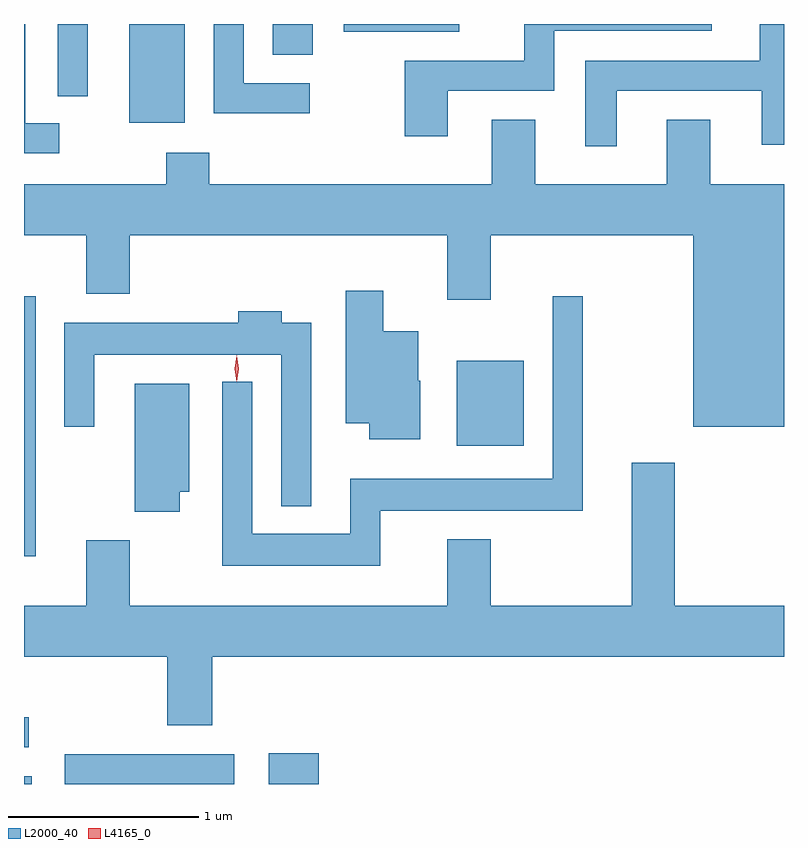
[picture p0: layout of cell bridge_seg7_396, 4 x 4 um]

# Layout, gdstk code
import gdstk
lib = gdstk.Library(unit=1e-6, precision=1e-09)
def R(c, l, rs):  # rectangles x0, y0, x1, y1
    for r in rs: c.add(gdstk.rectangle(r[:2], r[2:], *l))
def P(c, l, *ps):  # polygons
    for p in ps: c.add(gdstk.Polygon(p, *l))
L2000_40 = (2000, 40)
L4165_0 = (4165, 0)

bridge_seg7_396 = lib.new_cell('bridge_seg7_396')
R(bridge_seg7_396, L2000_40, [(1118.993,1718.087,1119.034,1718.129), (1119.208,1718.087,1120.099,1718.244), (1120.281,1718.087,1120.544,1718.249), (1118.993,1718.281,1119.018,1718.439), (1118.993,1719.286,1119.054,1720.653), (1121.271,1719.866,1121.624,1720.314), (1119.546,1721.566,1119.839,1722.087), (1119.171,1721.708,1119.329,1722.087), (1120.301,1721.926,1120.514,1722.087), (1120.676,1722.046,1121.284,1722.087)])
P(bridge_seg7_396, L2000_40, [(1121.224,1721.736),(1121.784,1721.736),(1121.784,1722.051),(1122.613,1722.051),(1122.613,1722.087),(1121.626,1722.087),(1121.626,1721.894),(1120.996,1721.894),(1120.996,1721.496),(1121.224,1721.496)],
  [(1120.498,1721.774),(1120.149,1721.774),(1120.149,1722.087),(1119.991,1722.087),(1119.991,1721.616),(1120.498,1721.616)],
  [(1122.114,1721.736),(1122.876,1721.736),(1122.876,1721.451),(1122.993,1721.451),(1122.993,1722.087),(1122.866,1722.087),(1122.866,1721.894),(1121.946,1721.894),(1121.946,1721.443),(1122.114,1721.443)],
  [(1119.178,1721.564),(1118.999,1721.564),(1118.999,1722.087),(1118.993,1722.087),(1118.993,1721.406),(1119.178,1721.406)],
  [(1122.993,1721.244),(1122.604,1721.244),(1122.604,1721.584),(1122.376,1721.584),(1122.376,1721.244),(1121.684,1721.244),(1121.684,1721.584),(1121.456,1721.584),(1121.456,1721.244),(1119.969,1721.244),(1119.969,1721.409),(1119.741,1721.409),(1119.741,1721.244),(1118.993,1721.244),(1118.993,1720.976),(1119.321,1720.976),(1119.321,1720.666),(1119.549,1720.666),(1119.549,1720.976),(1121.221,1720.976),(1121.221,1720.636),(1121.449,1720.636),(1121.449,1720.976),(1122.516,1720.976),(1122.516,1719.966),(1122.993,1719.966)],
  [(1121.079,1720.21),(1121.069,1720.21),(1121.069,1720.469),(1120.884,1720.469),(1120.884,1720.684),(1120.686,1720.684),(1120.686,1719.986),(1120.811,1719.986),(1120.811,1719.901),(1121.079,1719.901)],
  [(1120.869,1719.526),(1121.934,1719.526),(1121.934,1720.653),(1121.776,1720.653),(1121.776,1719.694),(1120.711,1719.694),(1120.711,1719.404),(1120.194,1719.404),(1120.194,1720.203),(1120.036,1720.203),(1120.036,1719.236),(1120.869,1719.236)],
  [(1120.504,1720.514),(1120.349,1720.514),(1120.349,1720.574),(1120.121,1720.574),(1120.121,1720.514),(1119.206,1720.514),(1119.206,1719.968),(1119.364,1719.968),(1119.364,1720.346),(1120.346,1720.346),(1120.346,1719.548),(1120.504,1719.548)],
  [(1119.814,1719.626),(1119.864,1719.626),(1119.864,1720.194),(1119.576,1720.194),(1119.576,1719.521),(1119.814,1719.521)],
  [(1119.984,1718.756),(1122.993,1718.756),(1122.993,1719.024),(1122.419,1719.024),(1122.419,1719.779),(1122.191,1719.779),(1122.191,1719.024),(1121.449,1719.024),(1121.449,1719.374),(1121.221,1719.374),(1121.221,1719.024),(1119.549,1719.024),(1119.549,1719.369),(1119.321,1719.369),(1119.321,1719.024),(1118.993,1719.024),(1118.993,1718.756),(1119.746,1718.756),(1119.746,1718.396),(1119.984,1718.396)])
P(bridge_seg7_396, L4165_0, [(1120.113,1720.203),(1120.112,1720.204),(1120.103,1720.273),(1120.112,1720.342),(1120.113,1720.343),(1120.113,1720.342),(1120.123,1720.273),(1120.113,1720.204)])

lib.write_gds('bridge_seg7_396.gds')
